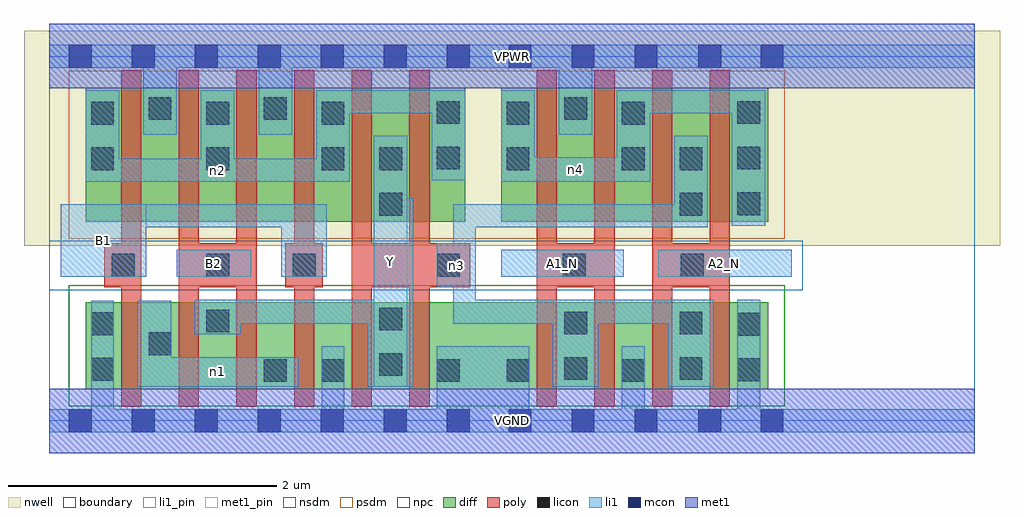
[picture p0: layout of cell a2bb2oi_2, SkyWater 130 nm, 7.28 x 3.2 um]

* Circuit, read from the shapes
.subckt a2bb2oi_2 A1_N A2_N B1 B2 VGND VPWR Y n1 n2 n3 n4
XM1 n1 B1 VGND VSUBS sky130_fd_pr__nfet_01v8 w=0.65 l=0.15 m=2
XM2 Y B2 n1 VSUBS sky130_fd_pr__nfet_01v8 w=0.65 l=0.15 m=2
XM3 Y n3 VGND VSUBS sky130_fd_pr__nfet_01v8 w=0.65 l=0.15 m=2
XM4 n3 A1_N VGND VSUBS sky130_fd_pr__nfet_01v8 w=0.65 l=0.15 m=2
XM5 n3 A2_N VGND VSUBS sky130_fd_pr__nfet_01v8 w=0.65 l=0.15 m=2
XM6 VPWR B1 n2 n5 sky130_fd_pr__pfet_01v8 w=1 l=0.15 m=2
XM7 n2 B2 VPWR n5 sky130_fd_pr__pfet_01v8 w=1 l=0.15 m=2
XM8 Y n3 n2 n5 sky130_fd_pr__pfet_01v8 w=1 l=0.15 m=2
XM9 VPWR A1_N n4 n5 sky130_fd_pr__pfet_01v8 w=1 l=0.15 m=2
XM10 n3 A2_N n4 n5 sky130_fd_pr__pfet_01v8 w=1 l=0.15 m=2
.ends

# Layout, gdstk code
import gdstk
lib = gdstk.Library(unit=1e-6, precision=1e-09)
def R(c, l, rs):  # rectangles x0, y0, x1, y1
    for r in rs: c.add(gdstk.rectangle(r[:2], r[2:], *l))
def A(c, l, x, y, w, h, nx, ny, dx, dy):  # array of equal rectangles
    R(c, l, [(x+i*dx, y+j*dy, x+i*dx+w, y+j*dy+h) for i in range(nx) for j in range(ny)])
nwell = (64, 20)
diff = (65, 20)
poly = (66, 20)
licon = (66, 44)
li1_pin = (67, 16)
li1 = (67, 20)
mcon = (67, 44)
met1_pin = (68, 16)
met1 = (68, 20)
nsdm = (93, 44)
psdm = (94, 20)
npc = (95, 20)
boundary = (235, 4)

a2bb2oi_2 = lib.new_cell('a2bb2oi_2')
R(a2bb2oi_2, nwell, [(-0.19,1.305,7.09,2.91), (0,1.305,6.9,2.91)])
R(a2bb2oi_2, diff, [(0.27,0.235,5.36,0.885), (0.27,1.485,3.1,2.485), (3.37,1.485,5.36,2.485)])
A(a2bb2oi_2, poly, 0.535, 0.105, 0.15, 2.51, 6, 1, 0.43, 0)
A(a2bb2oi_2, poly, 3.635, 0.105, 0.15, 2.51, 4, 1, 0.43, 0)
R(a2bb2oi_2, poly, [(0.41,0.995,0.685,1.325), (0.965,0.995,1.545,1.325), (1.76,0.995,2.04,1.325), (2.255,0.995,3.14,1.325), (3.635,0.995,4.215,1.325), (4.495,0.995,5.075,1.325)])
A(a2bb2oi_2, licon, 5.13, 1.535, 0.17, 0.17, 1, 3, 0, 0.34)
A(a2bb2oi_2, licon, 0.31, 1.87, 0.17, 0.17, 3, 2, 0.86, 0.34)
R(a2bb2oi_2, licon, [(1.6,0.29,1.77,0.46), (2.03,0.29,2.2,0.46), (2.89,0.29,3.06,0.46), (3.41,0.29,3.58,0.46), (4.27,0.29,4.44,0.46), (5.13,0.295,5.3,0.465), (0.31,0.3,0.48,0.47), (3.84,0.305,4.01,0.475), (4.7,0.305,4.87,0.475), (2.46,0.335,2.63,0.505), (0.74,0.49,0.91,0.66), (5.13,0.635,5.3,0.805), (0.31,0.64,0.48,0.81), (3.84,0.645,4.01,0.815), (4.7,0.645,4.87,0.815), (1.17,0.66,1.34,0.83), (2.46,0.675,2.63,0.845), (0.465,1.075,0.635,1.245), (1.17,1.075,1.34,1.245), (1.815,1.075,1.985,1.245), (2.89,1.075,3.06,1.245), (3.83,1.075,4,1.245), (4.71,1.075,4.88,1.245), (2.46,1.53,2.63,1.7), (4.7,1.53,4.87,1.7), (2.46,1.87,2.63,2.04), (3.41,1.87,3.58,2.04), (4.27,1.87,4.44,2.04), (4.7,1.87,4.87,2.04), (2.89,1.875,3.06,2.045), (3.41,2.21,3.58,2.38), (4.27,2.21,4.44,2.38), (2.89,2.215,3.06,2.385), (0.74,2.245,0.91,2.415), (1.6,2.245,1.77,2.415), (3.84,2.245,4.01,2.415)])
R(a2bb2oi_2, li1_pin, [(2.42,0.255,2.67,2.125), (0.085,1.075,0.72,1.615), (0.95,1.075,1.505,1.275), (3.37,1.075,4.285,1.275), (4.54,1.075,5.535,1.275)])
A(a2bb2oi_2, li1, 0.27, 1.785, 0.25, 0.68, 3, 1, 0.86, 0)
R(a2bb2oi_2, li1, [(0,-0.085,6.9,0.085), (0.31,-0.085,0.48,0.895), (2.03,-0.085,2.2,0.555), (2.89,-0.085,3.58,0.555), (4.27,-0.085,4.44,0.555), (5.13,-0.085,5.3,0.905), (0.655,0.255,1.855,0.475), (0.655,0.255,0.91,0.895), (2.375,0.255,2.715,0.905), (2.42,0.255,2.67,2.125), (2.42,0.255,2.715,1.66), (3.755,0.255,4.095,0.905), (4.615,0.255,4.955,0.905), (1.085,0.645,1.425,0.905), (1.085,0.725,2.715,0.905), (3.01,0.725,4.955,0.905), (3.01,0.725,3.18,1.615), (2.89,0.995,3.18,1.325), (0.085,1.075,0.72,1.615), (0.95,1.075,1.505,1.275), (1.73,1.075,2.07,1.615), (3.37,1.075,4.285,1.275), (4.54,1.075,5.535,1.275), (0.085,1.445,2.07,1.615), (3.01,1.445,4.91,1.615), (4.66,1.445,4.91,2.125), (5.09,1.455,5.34,2.465), (0.27,1.785,2.24,1.955), (3.37,1.785,3.62,2.465), (3.37,1.785,4.48,1.965), (4.23,1.785,4.48,2.465), (2.85,1.795,3.1,2.465), (0.7,2.135,0.95,2.805), (1.56,2.135,1.81,2.805), (3.8,2.135,4.05,2.805), (1.99,2.295,3.1,2.465), (4.23,2.295,5.34,2.465), (0,2.635,6.9,2.805)])
A(a2bb2oi_2, mcon, 0.145, -0.085, 0.17, 0.17, 7, 2, 0.47, 2.72)
A(a2bb2oi_2, mcon, 3.425, -0.085, 0.17, 0.17, 3, 2, 0.47, 2.72)
R(a2bb2oi_2, mcon, [(4.84,-0.085,5.01,0.085), (5.305,-0.085,5.475,0.085), (4.84,2.635,5.01,2.805), (5.305,2.635,5.475,2.805)])
R(a2bb2oi_2, met1_pin, [(0,-0.24,6.9,0.24), (0,2.48,6.9,2.96)])
R(a2bb2oi_2, met1, [(0,-0.24,6.9,0.24), (0,2.48,6.9,2.96)])
R(a2bb2oi_2, nsdm, [(0.145,0.11,5.485,1.01)])
R(a2bb2oi_2, psdm, [(0.145,1.36,5.485,2.61)])
R(a2bb2oi_2, npc, [(0,0.975,5.62,1.345)])
R(a2bb2oi_2, boundary, [(0,0,6.9,2.72)])
a2bb2oi_2.add(gdstk.Label('A1_N', (3.827,1.175), layer=67, texttype=5))
a2bb2oi_2.add(gdstk.Label('A2_N', (5.037,1.175), layer=67, texttype=5))
a2bb2oi_2.add(gdstk.Label('B1', (0.402,1.345), layer=67, texttype=5))
a2bb2oi_2.add(gdstk.Label('B2', (1.227,1.175), layer=67, texttype=5))
a2bb2oi_2.add(gdstk.Label('Y', (2.545,1.19), layer=67, texttype=5))
a2bb2oi_2.add(gdstk.Label('n1', (1.255,0.365), layer=67, texttype=5))
a2bb2oi_2.add(gdstk.Label('n3', (3.035,1.16), layer=67, texttype=5))
a2bb2oi_2.add(gdstk.Label('n2', (1.255,1.87), layer=67, texttype=5))
a2bb2oi_2.add(gdstk.Label('n4', (3.925,1.875), layer=67, texttype=5))
a2bb2oi_2.add(gdstk.Label('VPWR', (3.45,2.72), layer=68, texttype=5))
a2bb2oi_2.add(gdstk.Label('VGND', (3.45,0), layer=68, texttype=5))
a2bb2oi_2.add(gdstk.Label('A1_N', (3.827,1.175), layer=67, texttype=16))
a2bb2oi_2.add(gdstk.Label('A2_N', (5.037,1.175), layer=67, texttype=16))
a2bb2oi_2.add(gdstk.Label('B1', (0.402,1.345), layer=67, texttype=16))
a2bb2oi_2.add(gdstk.Label('B2', (1.227,1.175), layer=67, texttype=16))
a2bb2oi_2.add(gdstk.Label('Y', (2.545,1.19), layer=67, texttype=16))
a2bb2oi_2.add(gdstk.Label('VPWR', (3.45,2.72), layer=68, texttype=16))
a2bb2oi_2.add(gdstk.Label('VGND', (3.45,0), layer=68, texttype=16))

lib.write_gds('a2bb2oi_2.gds')
